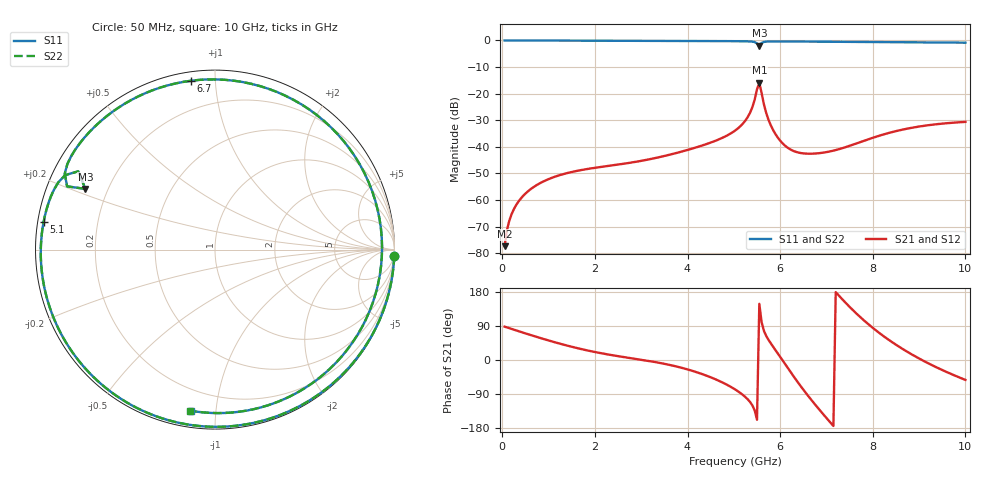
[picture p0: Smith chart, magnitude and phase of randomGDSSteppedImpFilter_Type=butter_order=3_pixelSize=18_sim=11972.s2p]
! freq	dB(S11)	phase(S11)	dB(S12)	phase(S12)
!  dB(S21)	phase(S21)	dB(S22)	phase(S22)
!S-par simulation data
#  GHz  S  DB  R 50
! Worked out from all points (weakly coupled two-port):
!   200 points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, 50 MHz to 10 GHz, reference 50 ohm
!   highest |S21| = -15.93 dB at 5.55 GHz (marker M1); lowest = -77.4 dB at 50 MHz (marker M2)
!   lowest |S11| = -2.0 dB at 5.55 GHz (marker M3), VSWR 8.86, Z = 5.92 + j11 ohm
!   |S11| at or under -10 dB: nowhere
!   |S22| runs from -2.0 to 0.0 dB; largest |S21 - S12| = 0
!   S11 on the Smith chart (normalised r, x): 50 MHz: 1, -56; 5.1 GHz: 0.02, +0.08; 6.7 GHz: 0.04, +0.87; 10 GHz: 0.08, -0.86
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0.05  -0.01 -2.0  -77.37 88.0  -77.37 88.0  -0.00 -2.0
0.1  -0.01 -4.0  -71.36 86.0  -71.36 86.0  -0.01 -4.0
0.2  -0.01 -8.0  -65.37 82.0  -65.37 82.0  -0.01 -8.0
0.5  -0.02 -20.0  -57.59 70.2  -57.59 70.2  -0.02 -20.0
1.75  -0.08 -68.0  -48.60 27.6  -48.60 27.6  -0.08 -68.0
2.55  -0.12 -97.0  -46.56 9.2  -46.56 9.2  -0.12 -97.0
3.4  -0.16 -126.8  -43.86 -7.6  -43.86 -7.6  -0.16 -126.8
4.3  -0.21 -158.5  -39.61 -36.5  -39.61 -36.5  -0.21 -158.5
5.05  -0.28 172.9  -33.60 -79.4  -33.60 -79.4  -0.28 172.9
5.1  -0.29 170.8  -32.90 -83.5  -32.90 -83.5  -0.29 170.8
5.35  -0.38 159.5  -27.20 -110.8  -27.20 -110.8  -0.38 159.5
5.5  -1.13 150.2  -18.39 -157.6  -18.39 -157.6  -1.13 150.2
5.55  -1.97 154.9  -15.93 148.3  -15.93 148.3  -1.97 154.9
5.7  -0.44 149.9  -27.36 63.3  -27.36 63.3  -0.44 149.9
5.95  -0.37 136.9  -36.56 17.2  -36.56 17.2  -0.37 136.9
6.25  -0.39 121.9  -41.26 -36.1  -41.26 -36.1  -0.39 121.9
6.7  -0.44 98.0  -42.59 -109.4  -42.59 -109.4  -0.44 98.0
7.45  -0.53 53.0  -39.92 146.3  -39.92 146.3  -0.54 52.9
7.9  -0.59 23.7  -37.20 94.9  -37.20 94.9  -0.59 23.6
8.35  -0.63 -5.8  -34.78 52.7  -34.78 52.7  -0.63 -5.8
9.2  -0.73 -57.4  -31.88 -8.8  -31.88 -8.8  -0.73 -57.5
10  -0.84 -98.5  -30.63 -52.5  -30.63 -52.5  -0.84 -98.7
